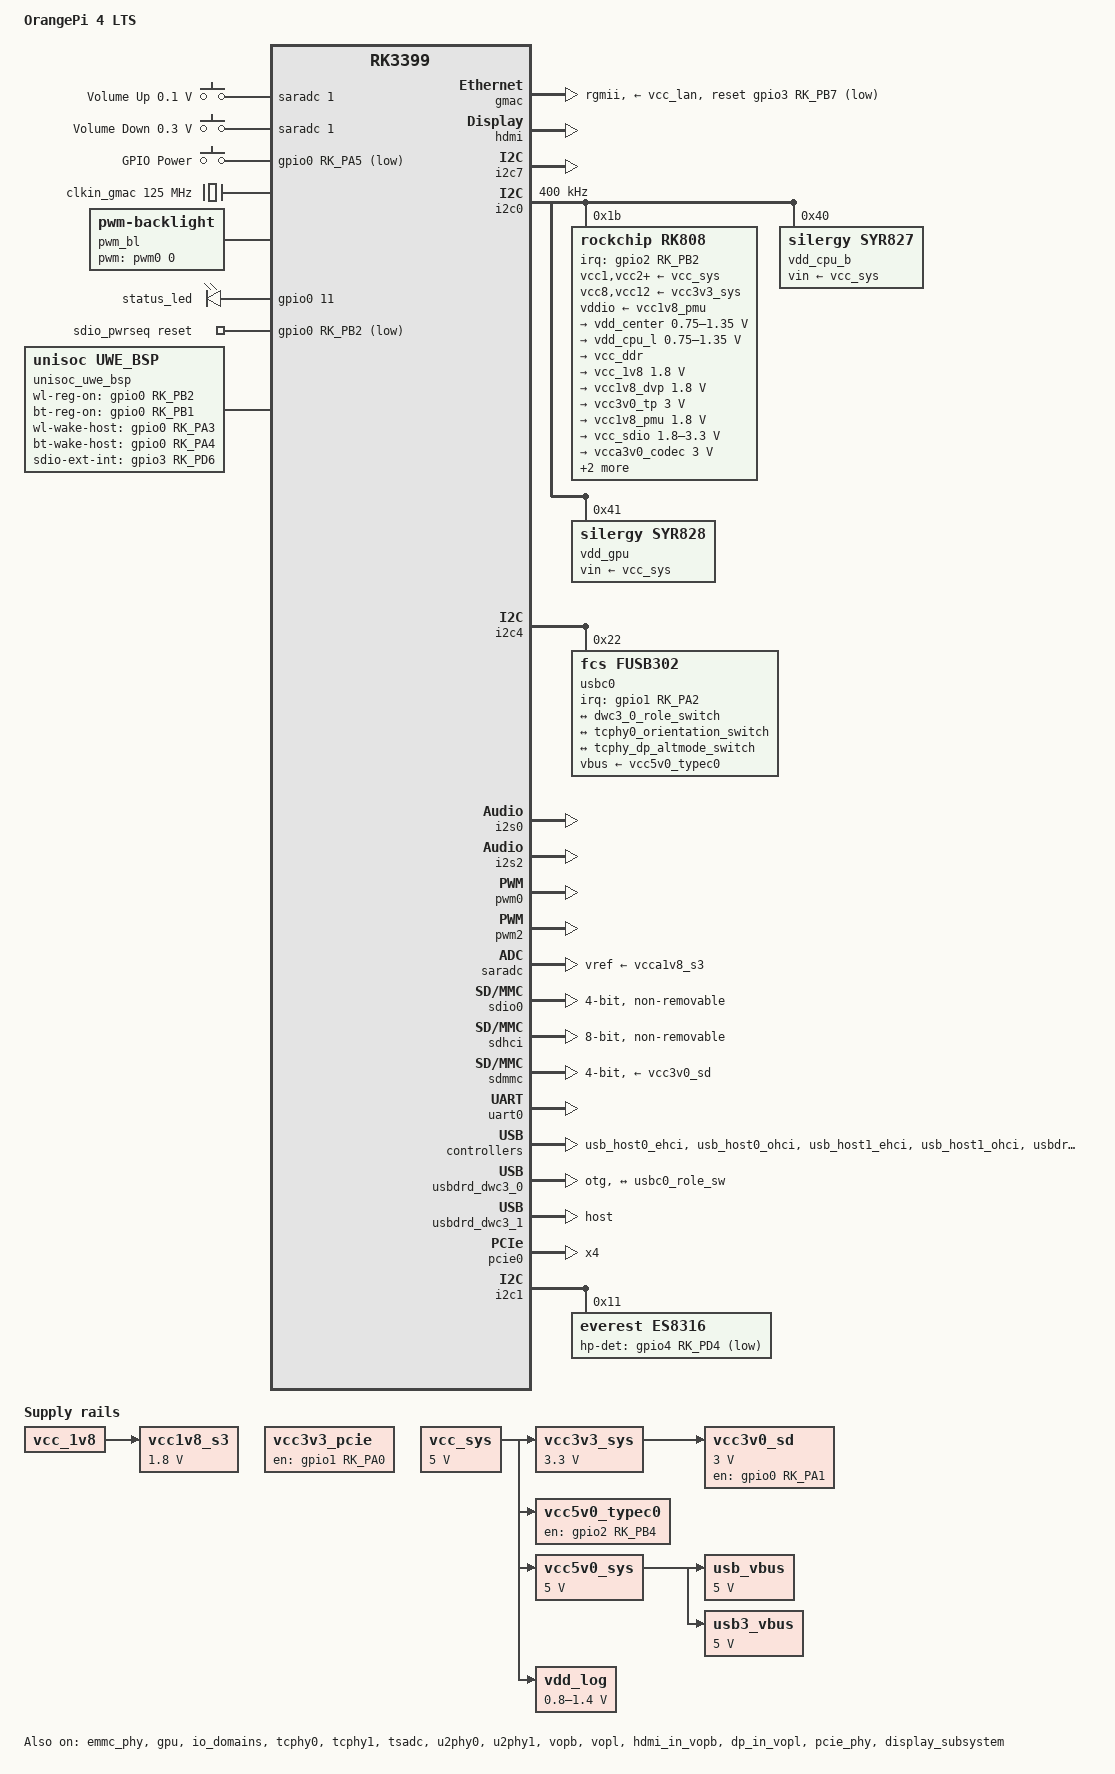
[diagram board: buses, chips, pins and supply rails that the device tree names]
// SPDX-License-Identifier: (GPL-2.0+ OR MIT)
/*
 * Copyright (c) 2017 Fuzhou Rockchip Electronics Co., Ltd.
 */

/dts-v1/;
#include "dt-bindings/usb/pd.h"
#include "dt-bindings/pwm/pwm.h"
#include "dt-bindings/input/input.h"
#include "rk3399.dtsi"
#include "rk3399-opp.dtsi"
#include "rk3399-linux.dtsi"
#include "rk3399-orangepi-lcd.dtsi"
#include "rk3399-orangepi-camera.dtsi"

/ {
	model = "OrangePi 4 LTS";
	compatible = "rockchip,rk3399-orangepi-4-lts", "rockchip,rk3399";

	cpuinfo {
		compatible = "rockchip,cpuinfo";
		nvmem-cells = <&cpu_id>;
		nvmem-cell-names = "id";
	};

	vcc3v3_pcie: vcc3v3-pcie-regulator {
		compatible = "regulator-fixed";
		enable-active-high;
		regulator-always-on;
		regulator-boot-on;
		gpio = <&gpio1 RK_PA0 GPIO_ACTIVE_HIGH>;
		pinctrl-names = "default";
		pinctrl-0 = <&pcie_drv>;
		regulator-name = "vcc3v3_pcie";
	};

	adc-keys {
		compatible = "adc-keys";
		io-channels = <&saradc 1>;
		io-channel-names = "buttons";
		poll-interval = <100>;
		keyup-threshold-microvolt = <1800000>;

		button-up {
			label = "Volume Up";
			linux,code = <KEY_VOLUMEUP>;
			press-threshold-microvolt = <100000>;
		};

		button-down {
			label = "Volume Down";
			linux,code = <KEY_VOLUMEDOWN>;
			press-threshold-microvolt = <300000>;
		};
	};

	keys: gpio-keys {
		compatible = "gpio-keys";
		autorepeat;

		power {
			debounce-interval = <100>;
			gpios = <&gpio0 RK_PA5 GPIO_ACTIVE_LOW>;
			label = "GPIO Power";
			linux,code = <KEY_POWER>;
			linux,input-type = <1>;
			pinctrl-names = "default";
			pinctrl-0 = <&pwr_btn>;
			wakeup-source;
		};
	};

	clkin_gmac: external-gmac-clock {
		compatible = "fixed-clock";
		clock-frequency = <125000000>;
		clock-output-names = "clkin_gmac";
		#clock-cells = <0>;
	};

	/* switched by pmic_sleep */
	vcc1v8_s3: vcca1v8_s3: vcc1v8-s3 {
		compatible = "regulator-fixed";
		regulator-name = "vcc1v8_s3";
		regulator-always-on;
		regulator-boot-on;
		regulator-min-microvolt = <1800000>;
		regulator-max-microvolt = <1800000>;
		vin-supply = <&vcc_1v8>;
	};

	vcc3v0_sd: vcc3v0-sd {
		compatible = "regulator-fixed";
		enable-active-high;
		gpio = <&gpio0 RK_PA1 GPIO_ACTIVE_HIGH>;
		pinctrl-names = "default";
		pinctrl-0 = <&sdmmc0_pwr_h>;
		regulator-always-on;
		regulator-max-microvolt = <3000000>;
		regulator-min-microvolt = <3000000>;
		regulator-name = "vcc3v0_sd";
		vin-supply = <&vcc3v3_sys>;
	};

	vcc3v3_sys: vcc3v3-sys {
		compatible = "regulator-fixed";
		regulator-name = "vcc3v3_sys";
		regulator-always-on;
		regulator-boot-on;
		regulator-min-microvolt = <3300000>;
		regulator-max-microvolt = <3300000>;
		vin-supply = <&vcc_sys>;
	};

	vcc5v0_typec0: vcc5v0-typec0-regulator {
		compatible = "regulator-fixed";
		enable-active-high;
		gpio = <&gpio2 RK_PB4 GPIO_ACTIVE_HIGH>;
		pinctrl-names = "default";
		pinctrl-0 = <&vcc5v0_typec0_en>;
		regulator-name = "vcc5v0_typec0";
		vin-supply = <&vcc_sys>;
	};

	usb_vbus: usb-vbus {
		compatible = "regulator-fixed";
		regulator-name = "usb_vbus";
		regulator-always-on;
		regulator-boot-on;
		regulator-min-microvolt = <5000000>;
		regulator-max-microvolt = <5000000>;
		vin-supply = <&vcc5v0_sys>;

		regulator-state-mem {
			regulator-on-in-suspend;
		};
	};

	usb3_vbus: usb3-vbus {
		compatible = "regulator-fixed";
		regulator-name = "usb3_vbus";
		regulator-always-on;
		regulator-boot-on;
		regulator-min-microvolt = <5000000>;
		regulator-max-microvolt = <5000000>;
		vin-supply = <&vcc5v0_sys>;

		regulator-state-mem {
			regulator-on-in-suspend;
		};
	};

	vcc_sys: vcc-sys {
		compatible = "regulator-fixed";
		regulator-name = "vcc_sys";
		regulator-always-on;
		regulator-boot-on;
		regulator-min-microvolt = <5000000>;
		regulator-max-microvolt = <5000000>;
	};

	vcc5v0_sys: vcc5v0-sys {
		compatible = "regulator-fixed";
		regulator-name = "vcc5v0_sys";
		regulator-always-on;
		regulator-boot-on;
		regulator-min-microvolt = <5000000>;
		regulator-max-microvolt = <5000000>;
		vin-supply = <&vcc_sys>;

		regulator-state-mem {
			regulator-on-in-suspend;
		};
	};

	vdd_log: vdd-log {
		compatible = "pwm-regulator";
		pwms = <&pwm2 0 25000 1>;
		regulator-name = "vdd_log";
		regulator-always-on;
		regulator-boot-on;
		regulator-min-microvolt = <800000>;
		regulator-max-microvolt = <1400000>;
		vin-supply = <&vcc_sys>;
	};

	pwm_bl: backlight {
		status = "okay";
		compatible = "pwm-backlight";
		pwms = <&pwm0 0 25000 0>;
		brightness-levels = <
			  0   1   2   3   4   5   6   7
			  8   9  10  11  12  13  14  15
			 16  17  18  19  20  21  22  23
			 24  25  26  27  28  29  30  31
			 32  33  34  35  36  37  38  39
			 40  41  42  43  44  45  46  47
			 48  49  50  51  52  53  54  55
			 56  57  58  59  60  61  62  63
			 64  65  66  67  68  69  70  71
			 72  73  74  75  76  77  78  79
			 80  81  82  83  84  85  86  87
			 88  89  90  91  92  93  94  95
			 96  97  98  99 100 101 102 103
			104 105 106 107 108 109 110 111
			112 113 114 115 116 117 118 119
			120 121 122 123 124 125 126 127
			128 129 130 131 132 133 134 135
			136 137 138 139 140 141 142 143
			144 145 146 147 148 149 150 151
			152 153 154 155 156 157 158 159
			160 161 162 163 164 165 166 167
			168 169 170 171 172 173 174 175
			176 177 178 179 180 181 182 183
			184 185 186 187 188 189 190 191
			192 193 194 195 196 197 198 199
			200 201 202 203 204 205 206 207
			208 209 210 211 212 213 214 215
			216 217 218 219 220 221 222 223
			224 225 226 227 228 229 230 231
			232 233 234 235 236 237 238 239
			240 241 242 243 244 245 246 247
			248 249 250 251 252 253 254 255>;
		default-brightness-level = <200>;
	};

	leds: gpio-leds {
		compatible = "gpio-leds";
		pinctrl-names = "default";
		pinctrl-0 =<&leds_gpio>;

		led@1 {
			gpios = <&gpio0 11 GPIO_ACTIVE_HIGH>;
			label = "status_led";
			linux,default-trigger = "heartbeat";
			linux,default-trigger-delay-ms = <0>;
		};

	};

	sdio_pwrseq: sdio-pwrseq {
		compatible = "mmc-pwrseq-simple";
		clocks = <&rk808 1>;
		clock-names = "ext_clock";
		pinctrl-names = "default";
		pinctrl-0 = <&wifi_enable_h>;

		/*
		 * On the module itself this is one of these (depending
		 * on the actual card populated):
		 * - SDIO_RESET_L_WL_REG_ON
		 * - PDN (power down when low)
		 */
		reset-gpios = <&gpio0 RK_PB2 GPIO_ACTIVE_LOW>; /* GPIO0_B2 */
	};

	sprd-wlan {
		compatible = "sprd,uwe5622-wifi";
		status = "okay";
	};

	unisoc_uwe_bsp: uwe-bsp {
		compatible = "unisoc,uwe_bsp";
		wl-reg-on = <&gpio0 RK_PB2 GPIO_ACTIVE_HIGH>;
		bt-reg-on = <&gpio0 RK_PB1 GPIO_ACTIVE_HIGH>;
		wl-wake-host-gpio = <&gpio0 RK_PA3 GPIO_ACTIVE_HIGH>;
		bt-wake-host-gpio = <&gpio0 RK_PA4 GPIO_ACTIVE_HIGH>;
		sdio-ext-int-gpio = <&gpio3 RK_PD6 GPIO_ACTIVE_HIGH>;
		//unisoc,btwf-file-name = "/lib/firmware/uwe5621ds/wcnmodem.bin";
		unisoc,btwf-file-name = "/lib/firmware/wcnmodem.bin";
		//adma-tx;
		//adma-rx;
		data-irq;
		blksz-512;
		keep-power-on;
		status = "okay";
	};

	sprd-mtty {
		compatible = "sprd,mtty";
		sprd,name = "ttyBT";
		status = "okay";
	};

	es8316-sound {
		compatible = "simple-audio-card";
		simple-audio-card,format = "i2s";
		simple-audio-card,name = "rockchip,es8316-codec";
		simple-audio-card,mclk-fs = <256>;
		simple-audio-card,cpu {
			sound-dai = <&i2s0>;
		};
		simple-audio-card,codec {
			sound-dai = <&es8316>;
		};
	};

	hdmisound: hdmisound {
		status = "okay";
		compatible = "rockchip,hdmi";
		rockchip,mclk-fs = <128>;
		rockchip,card-name = "rockchip-hdmi";
		rockchip,cpu = <&i2s2>;
		rockchip,codec = <&hdmi>;
		rockchip,jack-det;
	};
};

&cpu_l0 {
	cpu-supply = <&vdd_cpu_l>;
};

&cpu_l1 {
	cpu-supply = <&vdd_cpu_l>;
};

&cpu_l2 {
	cpu-supply = <&vdd_cpu_l>;
};

&cpu_l3 {
	cpu-supply = <&vdd_cpu_l>;
};

&cpu_b0 {
	cpu-supply = <&vdd_cpu_b>;
};

&cpu_b1 {
	cpu-supply = <&vdd_cpu_b>;
};

&emmc_phy {
	status = "okay";
};

&gmac {
	assigned-clocks = <&cru SCLK_RMII_SRC>;
	assigned-clock-parents = <&clkin_gmac>;
	clock_in_out = "input";
	phy-supply = <&vcc_lan>;
	phy-mode = "rgmii";
	pinctrl-names = "default";
	pinctrl-0 = <&rgmii_pins>;
	snps,reset-gpio = <&gpio3 RK_PB7 GPIO_ACTIVE_LOW>;
	snps,reset-active-low;
	snps,reset-delays-us = <0 10000 50000>;
	tx_delay = <0x28>;
	rx_delay = <0x11>;
	status = "okay";
};

&gpu {
	mali-supply = <&vdd_gpu>;
	status = "okay";
};

&cdn_dp {
	status = "disabled";
	phys = <&tcphy0_dp>;
};

&hdmi {
	status = "okay";
	pinctrl-0 = <&hdmi_cec>;
	ddc-i2c-bus = <&i2c7>;
};

&i2c7_xfer {
	rockchip,pins =
		<2 RK_PB0 2 &pcfg_pull_up>,
		<2 RK_PA7 2 &pcfg_pull_up>;
};

&i2c7 {
	status = "okay";
};

&i2c0 {
	clock-frequency = <400000>;
	i2c-scl-rising-time-ns = <168>;
	i2c-scl-falling-time-ns = <4>;
	status = "okay";

	rk808: pmic@1b {
		compatible = "rockchip,rk808";
		reg = <0x1b>;
		interrupt-parent = <&gpio2>;
		interrupts = <RK_PB2 IRQ_TYPE_LEVEL_LOW>;
		#clock-cells = <1>;
		clock-output-names = "xin32k", "rk808-clkout2";
		pinctrl-names = "default";
		pinctrl-0 = <&pmic_int_l>;
		rockchip,system-power-controller;
		wakeup-source;

		vcc1-supply = <&vcc_sys>;
		vcc2-supply = <&vcc_sys>;
		vcc3-supply = <&vcc_sys>;
		vcc4-supply = <&vcc_sys>;
		vcc6-supply = <&vcc_sys>;
		vcc7-supply = <&vcc_sys>;
		vcc8-supply = <&vcc3v3_sys>;
		vcc9-supply = <&vcc_sys>;
		vcc10-supply = <&vcc_sys>;
		vcc11-supply = <&vcc_sys>;
		vcc12-supply = <&vcc3v3_sys>;
		vddio-supply = <&vcc1v8_pmu>;

		regulators {
			vdd_center: DCDC_REG1 {
				regulator-name = "vdd_center";
				regulator-always-on;
				regulator-boot-on;
				regulator-min-microvolt = <750000>;
				regulator-max-microvolt = <1350000>;
				regulator-ramp-delay = <6001>;
				regulator-state-mem {
					regulator-off-in-suspend;
				};
			};

			vdd_cpu_l: DCDC_REG2 {
				regulator-name = "vdd_cpu_l";
				regulator-always-on;
				regulator-boot-on;
				regulator-min-microvolt = <750000>;
				regulator-max-microvolt = <1350000>;
				regulator-ramp-delay = <6001>;
				regulator-state-mem {
					regulator-off-in-suspend;
				};
			};

			vcc_ddr: DCDC_REG3 {
				regulator-name = "vcc_ddr";
				regulator-always-on;
				regulator-boot-on;
				regulator-state-mem {
					regulator-on-in-suspend;
				};
			};

			vcc_1v8: DCDC_REG4 {
				regulator-name = "vcc_1v8";
				regulator-always-on;
				regulator-boot-on;
				regulator-min-microvolt = <1800000>;
				regulator-max-microvolt = <1800000>;
				regulator-state-mem {
					regulator-on-in-suspend;
					regulator-suspend-microvolt = <1800000>;
				};
			};

			vcc1v8_dvp: LDO_REG1 {
				regulator-name = "vcc1v8_dvp";
				regulator-always-on;
				regulator-boot-on;
				regulator-min-microvolt = <1800000>;
				regulator-max-microvolt = <1800000>;
				regulator-state-mem {
					regulator-off-in-suspend;
				};
			};

			vcc3v0_tp: LDO_REG2 {
				regulator-name = "vcc3v0_tp";
				regulator-always-on;
				regulator-boot-on;
				regulator-min-microvolt = <3000000>;
				regulator-max-microvolt = <3000000>;
				regulator-state-mem {
					regulator-off-in-suspend;
				};
			};

			vcc1v8_pmu: LDO_REG3 {
				regulator-name = "vcc1v8_pmu";
				regulator-always-on;
				regulator-boot-on;
				regulator-min-microvolt = <1800000>;
				regulator-max-microvolt = <1800000>;
				regulator-state-mem {
					regulator-on-in-suspend;
					regulator-suspend-microvolt = <1800000>;
				};
			};

			vcc_sdio: LDO_REG4 {
				regulator-name = "vcc_sdio";
				regulator-always-on;
				regulator-boot-on;
				regulator-min-microvolt = <1800000>;
				regulator-max-microvolt = <3300000>;
				regulator-state-mem {
					regulator-on-in-suspend;
					regulator-suspend-microvolt = <3000000>;
				};
			};

			vcca3v0_codec: LDO_REG5 {
				regulator-name = "vcca3v0_codec";
				regulator-always-on;
				regulator-boot-on;
				regulator-min-microvolt = <3000000>;
				regulator-max-microvolt = <3000000>;
				regulator-state-mem {
					regulator-off-in-suspend;
				};
			};

			vcc_1v5: LDO_REG6 {
				regulator-name = "vcc_1v5";
				regulator-always-on;
				regulator-boot-on;
				regulator-min-microvolt = <1500000>;
				regulator-max-microvolt = <1500000>;
				regulator-state-mem {
					regulator-on-in-suspend;
					regulator-suspend-microvolt = <1500000>;
				};
			};

			vcca1v8_codec: LDO_REG7 {
				regulator-name = "vcca1v8_codec";
				regulator-always-on;
				regulator-boot-on;
				regulator-min-microvolt = <1800000>;
				regulator-max-microvolt = <1800000>;
				regulator-state-mem {
					regulator-off-in-suspend;
				};
			};

			vcc_3v0: LDO_REG8 {
				regulator-name = "vcc_3v0";
				regulator-always-on;
				regulator-boot-on;
				regulator-min-microvolt = <3000000>;
				regulator-max-microvolt = <3000000>;
				regulator-state-mem {
					regulator-on-in-suspend;
					regulator-suspend-microvolt = <3000000>;
				};
			};

			vcc3v3_s3: vcc_lan: SWITCH_REG1 {
				regulator-name = "vcc3v3_s3";
				regulator-always-on;
				regulator-boot-on;
				regulator-state-mem {
					regulator-off-in-suspend;
				};
			};

			vcc3v3_s0: SWITCH_REG2 {
				regulator-name = "vcc3v3_s0";
				regulator-always-on;
				regulator-boot-on;
				regulator-state-mem {
					regulator-off-in-suspend;
				};
			};
		};
	};

	vdd_cpu_b: regulator@40 {
		compatible = "silergy,syr827";
		reg = <0x40>;
		fcs,suspend-voltage-selector = <1>;
		regulator-name = "vdd_cpu_b";
		regulator-min-microvolt = <712500>;
		regulator-max-microvolt = <1500000>;
		regulator-ramp-delay = <1000>;
		regulator-always-on;
		regulator-boot-on;
		vin-supply = <&vcc_sys>;

		regulator-state-mem {
			regulator-off-in-suspend;
		};
	};

	vdd_gpu: regulator@41 {
		compatible = "silergy,syr828";
		reg = <0x41>;
		fcs,suspend-voltage-selector = <1>;
		regulator-name = "vdd_gpu";
		regulator-min-microvolt = <712500>;
		regulator-max-microvolt = <1500000>;
		regulator-ramp-delay = <1000>;
		regulator-always-on;
		regulator-boot-on;
		vin-supply = <&vcc_sys>;

		regulator-state-mem {
			regulator-off-in-suspend;
		};
	};
};

&i2c4 {
	status = "okay";
	i2c-scl-rising-time-ns = <475>;
	i2c-scl-falling-time-ns = <26>;

	usbc0: fusb302@22 {
		compatible = "fcs,fusb302";
		reg = <0x22>;
		interrupt-parent = <&gpio1>;
		interrupts = <RK_PA2 IRQ_TYPE_LEVEL_LOW>;
		pinctrl-names = "default";
		pinctrl-0 = <&usbc0_int>;
		vbus-supply = <&vcc5v0_typec0>;
		status = "okay";

		ports {
			#address-cells = <1>;
			#size-cells = <0>;

			port@0 {
				reg = <0>;
				usbc0_role_sw: endpoint@0 {
					remote-endpoint = <&dwc3_0_role_switch>;
				};
			};
		};

		usb_con: connector {
			compatible = "usb-c-connector";
			label = "USB-C";
			data-role = "dual";
			power-role = "dual";
			try-power-role = "sink";
			op-sink-microwatt = <1000000>;
			sink-pdos =
				<PDO_FIXED(5000, 1000, PDO_FIXED_USB_COMM)>;
			source-pdos =
				<PDO_FIXED(5000, 3000, PDO_FIXED_USB_COMM)>;

			displayport = <&cdn_dp>;

			altmodes {
				#address-cells = <1>;
				#size-cells = <0>;

				altmode@0 {
					reg = <0>;
					svid = <0xff01>;
					vdo = <0xffffffff>;
				};
			};

			ports {
				#address-cells = <1>;
				#size-cells = <0>;

				port@0 {
					reg = <0>;
					usbc0_orien_sw: endpoint {
						remote-endpoint = <&tcphy0_orientation_switch>;
					};
				};
				port@1 {
					reg = <1>;
					dp_mode_sw: endpoint {
						remote-endpoint = <&tcphy_dp_altmode_switch>;
					};
				};
			};
		};
	};
};

&i2s0 {
	status = "okay";
	rockchip,i2s-broken-burst-len;
	rockchip,playback-channels = <8>;
	rockchip,capture-channels = <8>;
	#sound-dai-cells = <0>;
};

&i2s2 {
	status = "okay";
	#sound-dai-cells = <0>;
};

&io_domains {
	status = "okay";

	bt656-supply = <&vcc_1v8>;
	audio-supply = <&vcca1v8_codec>;
	sdmmc-supply = <&vcc_sdio>;
	gpio1830-supply = <&vcc_3v0>;
};

&pmu_io_domains {
	pmu1830-supply = <&vcc_3v0>;
	status = "okay";
};

&pinctrl {
	sdio-pwrseq {
		wifi_enable_h: wifi-enable-h {
			rockchip,pins = <0 10 RK_FUNC_GPIO &pcfg_pull_none>;
		};
	};

	gpio-leds {
		leds_gpio: leds-gpio {
			rockchip,pins = <0 11 RK_FUNC_GPIO &pcfg_pull_none>;
		};
	};

	pcie {
		pcie_drv: pcie-drv {
			rockchip,pins =
				<1 RK_PA0 RK_FUNC_GPIO &pcfg_pull_none>;
		};
	};

	buttons {
		pwr_btn: pwr-btn {
			rockchip,pins = <0 RK_PA5 RK_FUNC_GPIO &pcfg_pull_up>;
		};
	};

	pmic {
		pmic_int_l: pmic-int-l {
			rockchip,pins =
				<2 RK_PB2 RK_FUNC_GPIO &pcfg_pull_up>;
		};

		vsel1_pin: vsel1-pin {
			rockchip,pins = <1 RK_PC1 RK_FUNC_GPIO &pcfg_pull_down>;
		};

		vsel2_pin: vsel2-pin {
			rockchip,pins = <1 RK_PB6 RK_FUNC_GPIO &pcfg_pull_down>;
		};
	};

	sd {
		sdmmc0_pwr_h: sdmmc0-pwr-h {
			rockchip,pins =
				<0 RK_PA1 RK_FUNC_GPIO &pcfg_pull_none>;
		};
	};

	usb-typec {
		usbc0_int: usbc0-int {
			rockchip,pins = <1 RK_PA2 RK_FUNC_GPIO &pcfg_pull_up>;
		};

		vcc5v0_typec0_en: vcc5v0-typec0-en {
			rockchip,pins =
				<2 RK_PB4 RK_FUNC_GPIO &pcfg_pull_none>;
		};
	};
};

&pwm0 {
	status = "okay";
};

&pwm2 {
	status = "okay";
	pinctrl-names = "active";
	pinctrl-0 = <&pwm2_pin_pull_down>;
};

&saradc {
	vref-supply = <&vcca1v8_s3>;
	status = "okay";
};

&sdio0 {
	clock-frequency = <150000000>;
	clock-freq-min-max = <200000 50000000>;
	supports-sdio;
	bus-width = <4>;
	disable-wp;
	cap-sd-highspeed;
	cap-sdio-irq;
	keep-power-in-suspend;
	mmc-pwrseq = <&sdio_pwrseq>;
	non-removable;
	num-slots = <1>;
	pinctrl-names = "default";
	pinctrl-0 = <&sdio0_bus4 &sdio0_cmd &sdio0_clk>;
	sd-uhs-sdr104;
	status = "okay";
};

&sdhci {
	bus-width = <8>;
	mmc-hs400-1_8v;
	mmc-hs400-enhanced-strobe;
	non-removable;
	status = "okay";
};

&sdmmc {
	broken-cd;
	bus-width = <4>;
	cap-mmc-highspeed;
	cap-sd-highspeed;
	clock-frequency = <150000000>;
	disable-wp;
	max-frequency = <150000000>;
	pinctrl-names = "default";
	pinctrl-0 = <&sdmmc_clk &sdmmc_cmd &sdmmc_cd &sdmmc_bus4>;
	vmmc-supply = <&vcc3v0_sd>;
	vqmmc-supply = <&vcc_sdio>;
	status = "okay";
};

&tcphy0 {
	status = "okay";
	svid = <0xff01>;
	orientation-switch;

	port {
		#address-cells = <1>;
		#size-cells = <0>;
		tcphy0_orientation_switch: endpoint@0 {
			reg = <0>;
			remote-endpoint = <&usbc0_orien_sw>;
		};
		tcphy_dp_altmode_switch: endpoint@1 {
			reg = <1>;
			remote-endpoint = <&dp_mode_sw>;
		};
	};
};

&tcphy1 {
	status = "okay";
};

&tsadc {
	/* tshut mode 0:CRU 1:GPIO */
	rockchip,hw-tshut-mode = <1>;
	/* tshut polarity 0:LOW 1:HIGH */
	rockchip,hw-tshut-polarity = <1>;
	status = "okay";
};

&u2phy0 {
	status = "okay";

	u2phy0_otg: otg-port {
		status = "okay";
	};

	u2phy0_host: host-port {
		phy-supply = <&usb_vbus>;
		status = "okay";
	};
};

&u2phy1 {
	status = "okay";

	u2phy1_otg: otg-port {
		status = "okay";
	};

	u2phy1_host: host-port {
		phy-supply = <&usb3_vbus>;
		status = "okay";
	};
};

&uart0 {
	pinctrl-names = "default";
	pinctrl-0 = <&uart0_xfer &uart0_cts>;
	status = "okay";
};

&usb_host0_ehci {
	status = "okay";
};

&usb_host0_ohci {
	status = "okay";
};

&usb_host1_ehci {
	status = "okay";
};

&usb_host1_ohci {
	status = "okay";
};

&usbdrd3_0 {
	status = "okay";
};

&usbdrd_dwc3_0 {
	status = "okay";
	dr_mode = "otg";
	usb-role-switch;
	port {
		#address-cells = <1>;
		#size-cells = <0>;
		dwc3_0_role_switch: endpoint@0 {
			reg = <0>;
			remote-endpoint = <&usbc0_role_sw>;
		};
	};
};

&usbdrd3_1 {
	status = "okay";
};

&usbdrd_dwc3_1 {
	status = "okay";
	dr_mode = "host";
};

&vopb {
	status = "okay";
};

&vopb_mmu {
	status = "okay";
};

&vopl {
	status = "okay";
};

&vopl_mmu {
	status = "okay";
};

&hdmi_in_vopb {
	status = "okay";
};

&dp_in_vopl {
	status = "okay";
};

&pcie_phy {
	status = "okay";
	assigned-clocks = <&cru SCLK_PCIEPHY_REF>;
	assigned-clock-parents = <&cru SCLK_PCIEPHY_REF100M>;
	assigned-clock-rates = <100000000>;
};

&pcie0 {
	status = "okay";
	ep-gpios = <&gpio2 4 GPIO_ACTIVE_HIGH>;
	num-lanes = <4>;
	max-link-speed = <1>;
};

&display_subsystem {
        status = "okay";
};

&dp_in_vopl {
        status = "okay";
};

&i2c1 {
	status = "okay";

	es8316: es8316@11 {
		#sound-dai-cells = <0>;
		compatible = "everest,es8316";
		reg = <0x11>;
		clocks = <&cru SCLK_I2S_8CH_OUT>;
		clock-names = "mclk";
		pinctrl-names = "default";
		pinctrl-0 = <&i2s_8ch_mclk>;
		hp-det-gpio = <&gpio4 RK_PD4 GPIO_ACTIVE_LOW>;
	};
};
